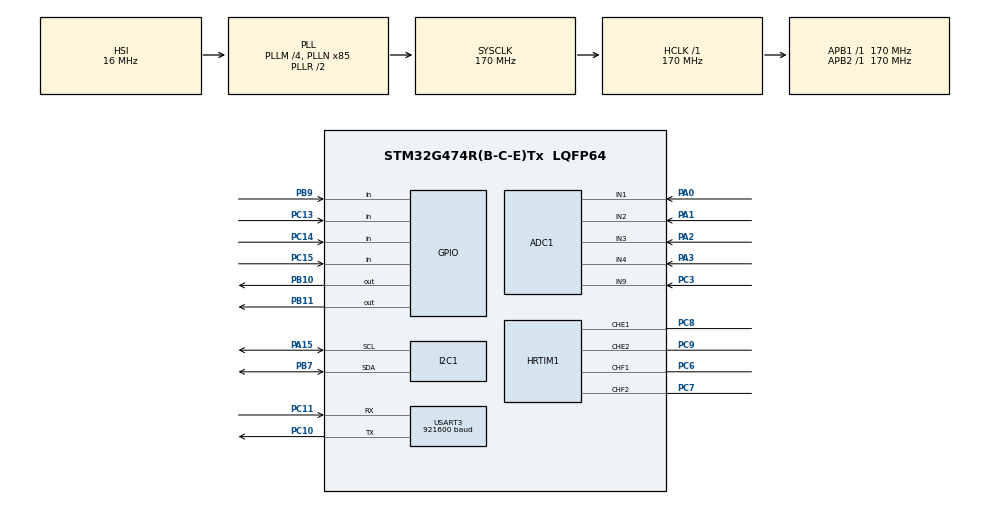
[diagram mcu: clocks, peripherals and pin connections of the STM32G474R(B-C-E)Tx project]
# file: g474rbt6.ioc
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ADC1.Channel-0\#ChannelRegularConversion=ADC_CHANNEL_1
ADC1.Channel-1\#ChannelRegularConversion=ADC_CHANNEL_2
ADC1.Channel-2\#ChannelRegularConversion=ADC_CHANNEL_3
ADC1.Channel-3\#ChannelRegularConversion=ADC_CHANNEL_4
ADC1.Channel-4\#ChannelRegularConversion=ADC_CHANNEL_9
ADC1.ClockPrescaler=ADC_CLOCK_SYNC_PCLK_DIV4
ADC1.ContinuousConvMode=DISABLE
ADC1.DMAContinuousRequests=ENABLE
ADC1.EOCSelection=ADC_EOC_SEQ_CONV
ADC1.ExternalTrigConv=ADC_EXTERNALTRIG_HRTIM_TRG7
ADC1.ExternalTrigConvEdge=ADC_EXTERNALTRIGCONVEDGE_FALLING
ADC1.NbrOfConversion=5
ADC1.NbrOfConversionFlag=1
ADC1.OffsetNumber-0\#ChannelRegularConversion=ADC_OFFSET_NONE
ADC1.OffsetNumber-1\#ChannelRegularConversion=ADC_OFFSET_NONE
ADC1.OffsetNumber-2\#ChannelRegularConversion=ADC_OFFSET_NONE
ADC1.OffsetNumber-3\#ChannelRegularConversion=ADC_OFFSET_NONE
ADC1.OffsetNumber-4\#ChannelRegularConversion=ADC_OFFSET_NONE
ADC1.Overrun=ADC_OVR_DATA_OVERWRITTEN
ADC1.Rank-0\#ChannelRegularConversion=1
ADC1.Rank-1\#ChannelRegularConversion=2
ADC1.Rank-2\#ChannelRegularConversion=3
ADC1.Rank-3\#ChannelRegularConversion=4
ADC1.Rank-4\#ChannelRegularConversion=5
ADC1.SamplingTime-0\#ChannelRegularConversion=ADC_SAMPLETIME_12CYCLES_5
ADC1.SamplingTime-1\#ChannelRegularConversion=ADC_SAMPLETIME_12CYCLES_5
ADC1.SamplingTime-2\#ChannelRegularConversion=ADC_SAMPLETIME_12CYCLES_5
ADC1.SamplingTime-3\#ChannelRegularConversion=ADC_SAMPLETIME_12CYCLES_5
ADC1.SamplingTime-4\#ChannelRegularConversion=ADC_SAMPLETIME_12CYCLES_5
ADC1.master=1
Dma.ADC1.0.Direction=DMA_PERIPH_TO_MEMORY
Dma.ADC1.0.EventEnable=DISABLE
Dma.ADC1.0.Instance=DMA1_Channel1
Dma.ADC1.0.MemDataAlignment=DMA_MDATAALIGN_HALFWORD
Dma.ADC1.0.MemInc=DMA_MINC_ENABLE
Dma.ADC1.0.Mode=DMA_CIRCULAR
Dma.ADC1.0.PeriphDataAlignment=DMA_PDATAALIGN_HALFWORD
Dma.ADC1.0.PeriphInc=DMA_PINC_DISABLE
Dma.ADC1.0.Polarity=HAL_DMAMUX_REQ_GEN_RISING
Dma.ADC1.0.Priority=DMA_PRIORITY_VERY_HIGH
Dma.ADC1.0.RequestNumber=1
Dma.ADC1.0.SignalID=NONE
Dma.ADC1.0.SyncEnable=DISABLE
Dma.ADC1.0.SyncPolarity=HAL_DMAMUX_SYNC_NO_EVENT
Dma.ADC1.0.SyncRequestNumber=1
Dma.ADC1.0.SyncSignalID=NONE
Dma.Request0=ADC1
Dma.Request1=USART3_TX
Dma.USART3_TX.1.Direction=DMA_MEMORY_TO_PERIPH
Dma.USART3_TX.1.EventEnable=DISABLE
Dma.USART3_TX.1.Instance=DMA1_Channel2
Dma.USART3_TX.1.MemDataAlignment=DMA_MDATAALIGN_BYTE
Dma.USART3_TX.1.MemInc=DMA_MINC_ENABLE
Dma.USART3_TX.1.Mode=DMA_NORMAL
Dma.USART3_TX.1.PeriphDataAlignment=DMA_PDATAALIGN_BYTE
Dma.USART3_TX.1.PeriphInc=DMA_PINC_DISABLE
Dma.USART3_TX.1.Polarity=HAL_DMAMUX_REQ_GEN_RISING
Dma.USART3_TX.1.Priority=DMA_PRIORITY_LOW
Dma.USART3_TX.1.RequestNumber=1
Dma.USART3_TX.1.SignalID=NONE
Dma.USART3_TX.1.SyncEnable=DISABLE
Dma.USART3_TX.1.SyncPolarity=HAL_DMAMUX_SYNC_NO_EVENT
Dma.USART3_TX.1.SyncRequestNumber=1
Dma.USART3_TX.1.SyncSignalID=NONE
HRTIM1.ADCTrigger_Id1=__NULL
HRTIM1.ADCTrigger_Id7=HRTIM_ADCTRIGGER_7
HRTIM1.CompareUnit1-MasterTimer=HRTIM_COMPAREUNIT_1
HRTIM1.CompareUnit1-Output_TE1TE2=HRTIM_COMPAREUNIT_1
HRTIM1.CompareUnit1-Output_TF1TF2=HRTIM_COMPAREUNIT_1
HRTIM1.CompareUnit2-Output_TE1TE2=__NULL
HRTIM1.CompareUnit3-Output_TE1TE2=__NULL
HRTIM1.CompareValue1-MasterTimer=10000
HRTIM1.CompareValue1-Output_TE1TE2=20000
HRTIM1.CompareValue1-Output_TF1TF2=20000
HRTIM1.DeadTimeInsertion-Output_TE1TE2=HRTIM_TIMDEADTIMEINSERTION_ENABLED
HRTIM1.DeadTimeInsertion-Output_TF1TF2=HRTIM_TIMDEADTIMEINSERTION_ENABLED
HRTIM1.FallingValue-Output_TE1TE2=50
HRTIM1.FallingValue-Output_TF1TF2=50
HRTIM1.InterruptRequests1_Master=HRTIM_MASTER_IT_MREP
HRTIM1.NumberDMARequests_Master=0
HRTIM1.NumberDMARequests_TE=0
HRTIM1.NumberDMARequests_TF=0
HRTIM1.NumberInterruptRequests_Master-MasterTimer=1
HRTIM1.NumberResetSource1-Output_TE1TE2=1
HRTIM1.NumberResetSource1-Output_TF1TF2=1
HRTIM1.NumberResetTrigger-Output_TE1TE2=1
HRTIM1.NumberResetTrigger-Output_TF1TF2=1
HRTIM1.NumberSetSource1-Output_TE1TE2=1
HRTIM1.NumberSetSource1-Output_TF1TF2=1
HRTIM1.ORingUpdateSource_ADCTrigger7=HRTIM_ADCTRIGGERUPDATE_TIMER_C
HRTIM1.Periode_MASTER=54400
HRTIM1.Periode_TE=54400
HRTIM1.Periode_TF=54400
HRTIM1.Polarity1-Output_TE1TE2=HRTIM_OUTPUTPOLARITY_HIGH
HRTIM1.Polarity1-Output_TF1TF2=HRTIM_OUTPUTPOLARITY_HIGH
HRTIM1.Polarity2-Output_TE1TE2=HRTIM_OUTPUTPOLARITY_HIGH
HRTIM1.Polarity2-Output_TF1TF2=HRTIM_OUTPUTPOLARITY_HIGH
HRTIM1.PreloadEnable-MasterTimer=HRTIM_PRELOAD_ENABLED
HRTIM1.PreloadEnable-Output_TE1TE2=HRTIM_PRELOAD_ENABLED
HRTIM1.PreloadEnable-Output_TF1TF2=HRTIM_PRELOAD_ENABLED
HRTIM1.RepetitionUpdate-MasterTimer=HRTIM_UPDATEONREPETITION_ENABLED
HRTIM1.RepetitionUpdate-Output_TE1TE2=HRTIM_UPDATEONREPETITION_ENABLED
HRTIM1.RepetitionUpdate-Output_TF1TF2=HRTIM_UPDATEONREPETITION_ENABLED
HRTIM1.ResetOutput1_Source1-Output_TE1TE2=HRTIM_OUTPUTRESET_TIMCMP1
HRTIM1.ResetOutput1_Source1-Output_TF1TF2=HRTIM_OUTPUTRESET_TIMPER
HRTIM1.ResetTrigger1-Output_TE1TE2=HRTIM_TIMRESETTRIGGER_MASTER_PER
HRTIM1.ResetTrigger1-Output_TF1TF2=HRTIM_TIMRESETTRIGGER_MASTER_PER
HRTIM1.RisingValue-Output_TE1TE2=50
HRTIM1.RisingValue-Output_TF1TF2=50
HRTIM1.SetOutput1_Source1-Output_TE1TE2=HRTIM_OUTPUTSET_TIMPER
HRTIM1.SetOutput1_Source1-Output_TF1TF2=HRTIM_OUTPUTSET_TIMCMP1
I2C1.Timing=0x30A0A7FB
Mcu.Family=STM32G4
Mcu.Name=STM32G474R(B-C-E)Tx
Mcu.Package=LQFP64
NVIC.DMA1_Channel1_IRQn=true\:0\:0\:false\:false\:true\:false\:true\:true
NVIC.DMA1_Channel2_IRQn=true\:0\:0\:false\:false\:true\:false\:true\:true
NVIC.HRTIM1_Master_IRQn=true\:3\:0\:true\:false\:true\:true\:true\:true
NVIC.PriorityGroup=NVIC_PRIORITYGROUP_4
NVIC.TIM2_IRQn=true\:0\:0\:true\:false\:true\:true\:true\:true
NVIC.TIM3_IRQn=true\:1\:0\:true\:false\:true\:true\:true\:true
NVIC.USART3_IRQn=true\:4\:0\:true\:false\:true\:true\:true\:true
PA0.Mode=IN1-Single-Ended
PA0.Signal=ADC1_IN1
PA1.Mode=IN2-Single-Ended
PA1.Signal=ADC1_IN2
PA13.Mode=Serial_Wire
PA13.Signal=SYS_JTMS-SWDIO
PA14.Mode=Serial_Wire
PA14.Signal=SYS_JTCK-SWCLK
PA15.Mode=I2C
PA15.Signal=I2C1_SCL
PA2.Mode=IN3-Single-Ended
PA2.Signal=ADC1_IN3
PA3.Mode=IN4-Single-Ended
PA3.Signal=ADC1_IN4
PB10.GPIO_PuPd=GPIO_PULLUP
PB10.PinState=GPIO_PIN_SET
PB10.Signal=GPIO_Output
PB11.GPIO_PuPd=GPIO_PULLUP
PB11.PinState=GPIO_PIN_SET
PB11.Signal=GPIO_Output
PB7.Mode=I2C
PB7.Signal=I2C1_SDA
PB9.Signal=GPIO_Input
PC10.Mode=Asynchronous
PC10.Signal=USART3_TX
PC11.Mode=Asynchronous
PC11.Signal=USART3_RX
PC13.Signal=GPIO_Input
PC14-OSC32_IN.Signal=GPIO_Input
PC15-OSC32_OUT.Signal=GPIO_Input
PC3.Mode=IN9-Single-Ended
PC3.Signal=ADC1_IN9
PC6.Mode=Output_TF1TF2
PC6.Signal=HRTIM1_CHF1
PC7.Mode=Output_TF1TF2
PC7.Signal=HRTIM1_CHF2
PC8.Mode=Output_TE1TE2
PC8.Signal=HRTIM1_CHE1
PC9.Mode=Output_TE1TE2
PC9.Signal=HRTIM1_CHE2
PF0-OSC_IN.Mode=HSE-External-Oscillator
PF0-OSC_IN.Signal=RCC_OSC_IN
PF1-OSC_OUT.Mode=HSE-External-Oscillator
PF1-OSC_OUT.Signal=RCC_OSC_OUT
ProjectManager.HeapSize=0x200
ProjectManager.StackSize=0x400
ProjectManager.TargetToolchain=MDK-ARM V5.32
RCC.ADC12Freq_Value=170000000
RCC.ADC345Freq_Value=170000000
RCC.AHBFreq_Value=170000000
RCC.APB1Freq_Value=170000000
RCC.APB1TimFreq_Value=170000000
RCC.APB2Freq_Value=170000000
RCC.APB2TimFreq_Value=170000000
RCC.CortexFreq_Value=170000000
RCC.EXTERNAL_CLOCK_VALUE=12288000
RCC.HCLKFreq_Value=170000000
RCC.HSE_VALUE=12000000
RCC.HSI48_VALUE=48000000
RCC.HSI_VALUE=16000000
RCC.LSE_VALUE=32768
RCC.PLLM=RCC_PLLM_DIV4
RCC.PLLN=85
RCC.SYSCLKFreq_VALUE=170000000
RCC.SYSCLKSource=RCC_SYSCLKSOURCE_PLLCLK
RCC.USART2CLockSelection=RCC_USART2CLKSOURCE_HSI
RCC.USBFreq_Value=170000000
RCC.VCOOutputFreq_Value=340000000
TIM2.PeriodNoDither=1700-1
TIM2.Prescaler=2-1
TIM2.TIM_MasterOutputTrigger=TIM_TRGO_RESET
TIM3.AutoReloadPreload=TIM_AUTORELOAD_PRELOAD_ENABLE
TIM3.PeriodNoDither=1700-1
TIM3.Prescaler=100-1
TIM3.TIM_MasterOutputTrigger=TIM_TRGO_RESET
USART3.BaudRate=921600
USART3.VirtualMode-Asynchronous=VM_ASYNC
VP_HRTIM1_VS_hrtimMasterTimerNoOutput.Mode=MasterTimer
VP_HRTIM1_VS_hrtimTimerCNoOutput.Mode=No_output_TC
VP_SYS_VS_DBSignals.Mode=DisableDeadBatterySignals
VP_TIM2_VS_ClockSourceINT.Mode=Internal
VP_TIM3_VS_ClockSourceINT.Mode=Internal
board=custom

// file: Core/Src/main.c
/* USER CODE BEGIN Header */
/**
  ******************************************************************************
  * @file           : main.c
  * @brief          : Main program body
  ******************************************************************************
  * @attention
  *
  * <h2><center>&copy; Copyright (c) 2023 STMicroelectronics.
  * All rights reserved.</center></h2>
  *
  * This software component is licensed by ST under BSD 3-Clause license,
  * the "License"; You may not use this file except in compliance with the
  * License. You may obtain a copy of the License at:
  *                        opensource.org/licenses/BSD-3-Clause
  *
  ******************************************************************************
  */
/* USER CODE END Header */
#include "main.h"
#include "adc.h"
#include "dma.h"
#include "hrtim.h"
#include "i2c.h"
#include "tim.h"
#include "usart.h"
#include "gpio.h"

/* USER CODE BEGIN Includes */
#include "oled.h"
#include "key.h"
/* USER CODE END Includes */

/* USER CODE BEGIN PV */
uint16_t ADC_ConvertedValue[5]={0,0,0,0,0};

int phaseangle;
/* USER CODE END PV */

void SystemClock_Config(void);

int main(void)
{

  /* MCU Configuration--------------------------------------------------------*/

  /* Reset of all peripherals, Initializes the Flash interface and the Systick. */
  HAL_Init();

  /* Configure the system clock */
  SystemClock_Config();

  /* Initialize all configured peripherals */
  MX_GPIO_Init();
  MX_DMA_Init();
  MX_TIM2_Init();
  MX_ADC1_Init();
  MX_USART3_UART_Init();
  MX_HRTIM1_Init();
  MX_TIM3_Init();
  MX_I2C1_Init();
  /* USER CODE BEGIN 2 */
	HAL_Delay(50);

	HAL_HRTIM_WaveformCounterStart_IT(&hhrtim1, HRTIM_TIMERID_MASTER|HRTIM_TIMERID_TIMER_C);

  HAL_HRTIM_WaveformCounterStart_DMA(&hhrtim1, HRTIM_TIMERID_TIMER_E);
  HAL_HRTIM_WaveformOutputStart(&hhrtim1, HRTIM_OUTPUT_TE1|HRTIM_OUTPUT_TE2);
	HAL_HRTIM_WaveformCounterStart_DMA(&hhrtim1, HRTIM_TIMERID_TIMER_F);
  HAL_HRTIM_WaveformOutputStart(&hhrtim1, HRTIM_OUTPUT_TF1|HRTIM_OUTPUT_TF2);

	HAL_HRTIM_WaveformCounterStart_DMA(&hhrtim1, HRTIM_TIMERID_TIMER_C);

	HAL_TIM_Base_Start_IT(&htim2);
	HAL_TIM_Base_Start_IT(&htim3);

  HAL_GPIO_WritePin(GPIOB, GPIO_PIN_10|GPIO_PIN_11, GPIO_PIN_RESET);
	HAL_ADCEx_Calibration_Start(&hadc1, ADC_SINGLE_ENDED);//ADC1ģ����У��
	HAL_Delay(50);//��ʱ50ms

	 if (HAL_ADC_Start_DMA(&hadc1,(uint32_t *)&ADC_ConvertedValue,5) !=HAL_OK)
  {
    Error_Handler();
  }

	KEY_Init();
	OLED_Init();
	OLED_CLS();
	OLED_ShowStr(25,0,"SOGI PLL",2);
	OLED_ShowStr(10,2,"Angle :  ",1);
	OLED_ON();

  /* USER CODE END 2 */

  /* Infinite loop */
  while (1)
  {

    /* USER CODE BEGIN 3 */
		HAL_Delay(100);
		OLED_SHOW();
  }
  /* USER CODE END 3 */
}

void SystemClock_Config(void)
{
  RCC_OscInitTypeDef RCC_OscInitStruct = {0};
  RCC_ClkInitTypeDef RCC_ClkInitStruct = {0};

  /** Configure the main internal regulator output voltage
  */
  HAL_PWREx_ControlVoltageScaling(PWR_REGULATOR_VOLTAGE_SCALE1_BOOST);

  /** Initializes the RCC Oscillators according to the specified parameters
  * in the RCC_OscInitTypeDef structure.
  */
  RCC_OscInitStruct.OscillatorType = RCC_OSCILLATORTYPE_HSI;
  RCC_OscInitStruct.HSIState = RCC_HSI_ON;
  RCC_OscInitStruct.HSICalibrationValue = RCC_HSICALIBRATION_DEFAULT;
  RCC_OscInitStruct.PLL.PLLState = RCC_PLL_ON;
  RCC_OscInitStruct.PLL.PLLSource = RCC_PLLSOURCE_HSI;
  RCC_OscInitStruct.PLL.PLLM = RCC_PLLM_DIV4;
  RCC_OscInitStruct.PLL.PLLN = 85;
  RCC_OscInitStruct.PLL.PLLP = RCC_PLLP_DIV2;
  RCC_OscInitStruct.PLL.PLLQ = RCC_PLLQ_DIV2;
  RCC_OscInitStruct.PLL.PLLR = RCC_PLLR_DIV2;
  if (HAL_RCC_OscConfig(&RCC_OscInitStruct) != HAL_OK)
  {
    Error_Handler();
  }

  /** Initializes the CPU, AHB and APB buses clocks
  */
  RCC_ClkInitStruct.ClockType = RCC_CLOCKTYPE_HCLK|RCC_CLOCKTYPE_SYSCLK
                              |RCC_CLOCKTYPE_PCLK1|RCC_CLOCKTYPE_PCLK2;
  RCC_ClkInitStruct.SYSCLKSource = RCC_SYSCLKSOURCE_PLLCLK;
  RCC_ClkInitStruct.AHBCLKDivider = RCC_SYSCLK_DIV1;
  RCC_ClkInitStruct.APB1CLKDivider = RCC_HCLK_DIV1;
  RCC_ClkInitStruct.APB2CLKDivider = RCC_HCLK_DIV1;

  if (HAL_RCC_ClockConfig(&RCC_ClkInitStruct, FLASH_LATENCY_4) != HAL_OK)
  {
    Error_Handler();
  }
}

void Error_Handler(void)
{
  __disable_irq();
  while (1)
  {
  }
}
